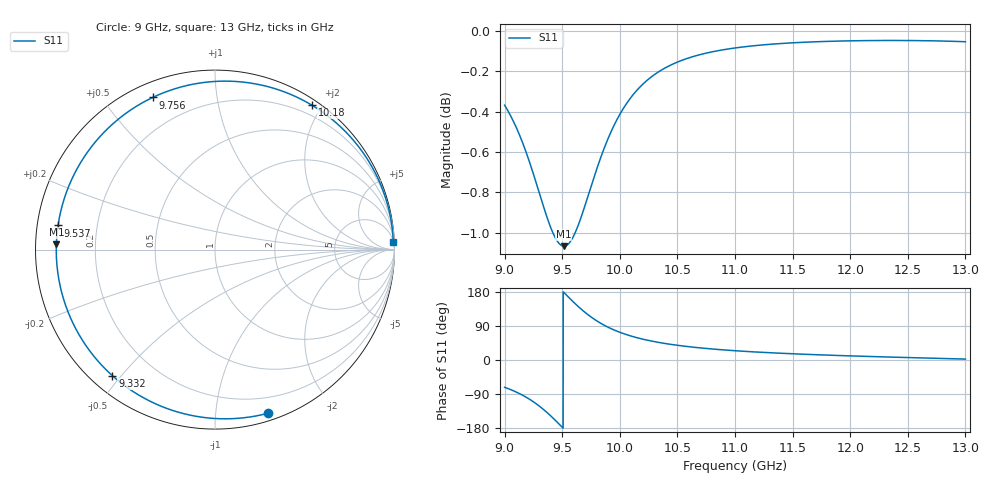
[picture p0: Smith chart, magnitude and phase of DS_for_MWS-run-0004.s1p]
! TOUCHSTONE file generated by CST DESIGN STUDIO
! Date and time: Tue Feb  4 17:16:53 2025
! Project name: C:\Work\MatlabApps\UnitCellOptimizationMatlab\CST\unitcell.cst
! Tree item: Tasks\Sweep1\SPara1\S-Parameters
! Header version: 2024
! Port assignment regex: !\s*Touchstone port\s*([0-9]+)\s*=\s*(CST MWS port|CST DES external port|CST DES block port)\s*(.+)\s* \(\"(.*)\"\)(\s*mode\s*([0-9]+))?.*
! Touchstone port assignment:
! Touchstone port 1 = CST DES external port 1 ("")
# GHz S MA R 50
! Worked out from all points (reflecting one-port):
!   4001 points, 9 GHz to 13 GHz, reference 50 ohm
!   lowest |S11| = -1.1 dB at 9.515 GHz (marker M1), VSWR 16.30, Z = 3.07 + j0.858 ohm
!   phase of S11 starts at -72 deg and turns -286 deg over the sweep
!   S11 on the Smith chart (normalised r, x): 9 GHz: 0.06, -1.37; 9.332 GHz: 0.06, -0.47; 9.537 GHz: 0.06, +0.08; 9.756 GHz: 0.06, +0.67; 10.18 GHz: 0.07, +1.87; 13 GHz: 7, +47
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9  0.9585 -72.0
9.089  0.948 -82.9
9.192  0.9322 -99.1
9.265  0.9187 -113.5
9.332  0.9057 -129.1
9.377  0.8976 -140.9
9.424  0.8905 -154.3
9.463  0.8865 -166.0
9.5  0.8846 -177.3
9.515  0.8844 178.0
9.537  0.8848 171.2
9.59  0.8885 155.2
9.651  0.8969 137.9
9.703  0.9061 124.5
9.756  0.9161 112.3
9.806  0.9253 102.1
9.862  0.9348 92.2
10  0.9534 73.1
10.088  0.962 64.1
10.184  0.9691 56.1
10.328  0.9765 46.9
10.5  0.9823 38.8
10.722  0.9869 31.2
11  0.9903 24.5
11.5  0.9932 16.4
12  0.9943 10.8
12.5  0.9945 6.4
13  0.9938 2.4
